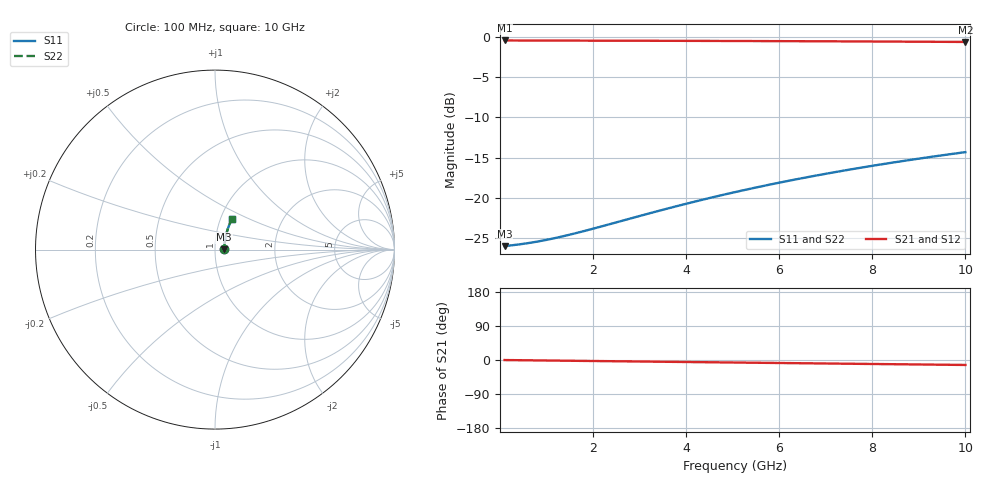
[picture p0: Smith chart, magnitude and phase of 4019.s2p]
# Hz S RI R 50.00
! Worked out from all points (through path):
!   100 points, 100 MHz to 10 GHz, reference 50 ohm
!   highest |S21| = -0.45 dB at 100 MHz (marker M1); lowest = -0.6 dB at 10 GHz (marker M2)
!   group delay of S21, straight-line fit = 3.64 ps
!   lowest |S11| = -26.0 dB at 100 MHz (marker M3), VSWR 1.11, Z = 55.3 + j0.197 ohm
!   |S11| at or under -10 dB: start of sweep to end of sweep
!   |S22| runs from -26.0 to -14.3 dB; largest |S21 - S12| = 0
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1e8  0.0501 0.00178  0.9499 -0.0022  0.9499 -0.0022  0.0501 0.00178
5e8  0.0511 0.00887  0.9489 -0.011  0.9489 -0.011  0.0511 0.00887
7e8  0.0514 0.0124  0.9486 -0.0154  0.9486 -0.0154  0.0514 0.0124
9e8  0.0517 0.0159  0.9482 -0.0197  0.9482 -0.0197  0.0517 0.0159
1.1e9  0.0521 0.0195  0.9479 -0.0241  0.9479 -0.0241  0.0521 0.0195
1.3e9  0.0524 0.023  0.9475 -0.0285  0.9475 -0.0285  0.0524 0.023
1.5e9  0.0528 0.0265  0.9472 -0.0329  0.9472 -0.0329  0.0528 0.0265
1.8e9  0.0534 0.0318  0.9466 -0.0394  0.9466 -0.0394  0.0534 0.0318
3.4e9  0.0574 0.0597  0.9424 -0.0741  0.9424 -0.0741  0.0574 0.0597
3.9e9  0.0591 0.0684  0.9408 -0.0849  0.9408 -0.0849  0.0591 0.0684
4.3e9  0.0605 0.0753  0.9393 -0.0934  0.9393 -0.0934  0.0605 0.0753
4.7e9  0.062 0.0821  0.9377 -0.102  0.9377 -0.102  0.062 0.0821
5.1e9  0.0637 0.0889  0.936 -0.1105  0.936 -0.1105  0.0637 0.0889
5.5e9  0.0655 0.0957  0.9342 -0.1189  0.9342 -0.1189  0.0655 0.0957
5.9e9  0.0674 0.1024  0.9323 -0.1273  0.9323 -0.1273  0.0674 0.1024
6.3e9  0.0694 0.1091  0.9302 -0.1357  0.9302 -0.1357  0.0694 0.1091
6.7e9  0.0715 0.1157  0.928 -0.144  0.928 -0.144  0.0715 0.1157
7.5e9  0.0761 0.1288  0.9233 -0.1605  0.9233 -0.1605  0.0761 0.1288
7.9e9  0.0786 0.1352  0.9208 -0.1687  0.9208 -0.1687  0.0786 0.1352
8.4e9  0.0818 0.1432  0.9175 -0.1788  0.9175 -0.1788  0.0818 0.1432
9.2e9  0.0874 0.1558  0.9118 -0.1948  0.9118 -0.1948  0.0874 0.1558
1e10  0.0933 0.1682  0.9057 -0.2105  0.9057 -0.2105  0.0933 0.1682
